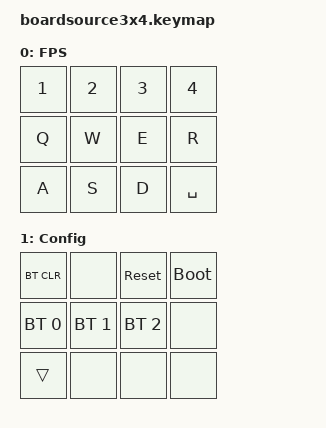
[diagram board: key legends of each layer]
/*
 * Copyright (c) 2025 The ZMK Contributors
 *
 * SPDX-License-Identifier: MIT
 */

#include <behaviors.dtsi>
#include <dt-bindings/zmk/keys.h>
#include <dt-bindings/zmk/bt.h>

/ {
    keymap {
        compatible = "zmk,keymap";

	default_layer {
    	    display-name = "FPS";

    	    bindings = <
                &kp N1    &kp N2     &kp N3     &kp N4
        	&kp Q     &kp W      &kp E      &kp R
        	&kp A     &kp S      &kp D      &kp SPACE
    		>;
	};

        config_layer {
            display-name = "Config";

            bindings = <
                &bt BT_CLR       &none        &sys_reset       &bootloader
                &bt BT_SEL 0     &bt BT_SEL 1 &bt BT_SEL 2     &none
                &trans           &none        &none            &none
            >;
        };
    };
};
